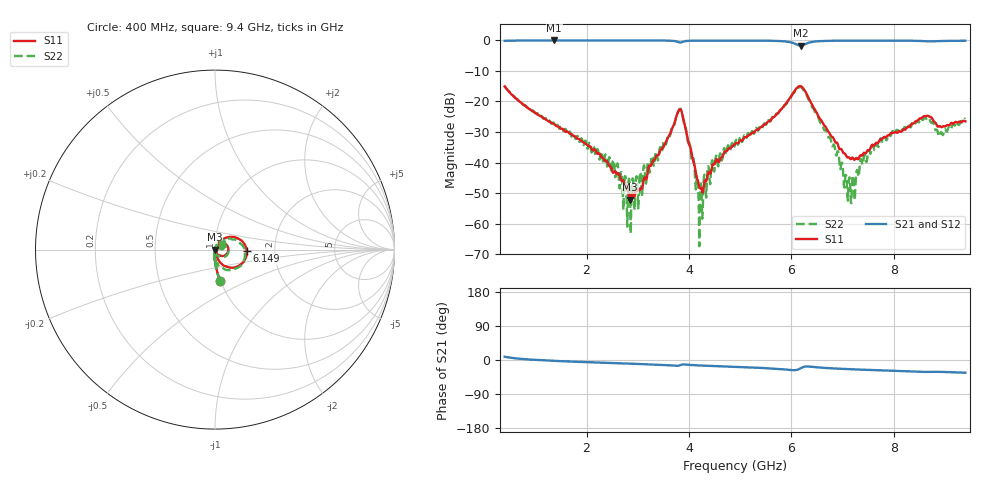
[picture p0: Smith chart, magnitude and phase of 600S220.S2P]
!  American Technical Ceramics  Date:  12/2/2005
!  One Norden Lane
!  Huntington Station,  NY.  11746-2102
!  Tel:  (631) 622-4700  Fax:  (631) 622-4748
!  Part Number  600S220  Mounting Orientation: Horizontal
!  Description: Ultra Low ESR Microwave capacitors
!  Application: Coupling, Bypass, Tuning, DC Block
!  Filters, Matching
# GHZ S DB R 50
! Freq  |S11|  S11 Ph  |S21|  S21 Ph  |S12|  S12 Ph  |S22|  S22 Ph
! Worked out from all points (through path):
!   801 points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, 400 MHz to 9.4 GHz, reference 50 ohm
!   highest |S21| = -0.03 dB at 1.368 GHz (marker M1); lowest = -1.7 dB at 6.183 GHz (marker M2)
!   group delay of S21, straight-line fit = 11 ps
!   lowest |S11| = -52.2 dB at 2.853 GHz (marker M3), VSWR 1.00, Z = 49.8 - j0.0848 ohm
!   |S11| at or under -10 dB: start of sweep to end of sweep
!   |S22| runs from -67.4 to -15.0 dB; largest |S21 - S12| = 0.015
!   S11 on the Smith chart (normalised r, x): 400 MHz: 0.99, -0.36; 6.149 GHz: 1.43, -0.02; 9.4 GHz: 1.07, +0.07
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0.4  -15.09 -80.8  -0.16 8.7  -0.09 8.7  -14.99 -80.6
1.368  -27.47 -92.1  -0.03 -2.2  -0.01 -2.4  -27.18 -94.3
1.908  -33.08 -96.2  -0.03 -5.2  -0.01 -5.4  -32.16 -95.8
2.56  -42.92 -104.9  -0.05 -8.3  -0.01 -8.5  -44.81 -92.1
2.751  -47.25 -133.6  -0.04 -9.2  -0.01 -9.4  -44.44 -52.5
2.853  -52.19 -159.7  -0.04 -9.7  -0.01 -9.9  -50.53 -75.5
2.976  -48.90 152.9  -0.04 -10.2  -0.01 -10.5  -44.49 7.2
3.404  -37.57 72.0  -0.06 -12.4  0.00 -12.8  -38.61 67.8
3.831  -22.57 -5.1  -0.71 -13.5  -0.66 -13.8  -22.36 -12.8
4.236  -48.32 -15.7  -0.07 -14.6  -0.03 -15.0  -46.89 -18.0
4.495  -40.62 54.1  -0.07 -16.0  -0.03 -16.4  -42.96 64.7
4.9  -33.98 63.3  -0.07 -18.0  -0.04 -18.5  -33.74 69.9
6.149  -15.05 -2.0  -1.64 -24.2  -1.64 -24.7  -15.41 -11.8
6.183  -14.99 -14.1  -1.71 -21.7  -1.70 -22.3  -15.25 -23.9
6.408  -21.18 -65.4  -0.51 -18.1  -0.51 -18.6  -21.97 -79.1
6.88  -33.46 -61.9  -0.12 -22.7  -0.14 -23.3  -37.74 -93.6
7.139  -38.58 -28.3  -0.10 -24.2  -0.12 -24.8  -44.86 -36.9
7.386  -37.66 17.6  -0.09 -25.6  -0.12 -26.2  -40.74 42.3
7.904  -31.04 41.8  -0.09 -28.0  -0.13 -28.7  -30.71 46.1
8.624  -24.84 35.1  -0.27 -31.5  -0.32 -32.2  -25.30 20.2
8.916  -28.25 27.4  -0.22 -31.3  -0.28 -32.0  -30.20 23.1
9.4  -26.50 44.3  -0.13 -33.6  -0.20 -34.3  -25.74 38.5
